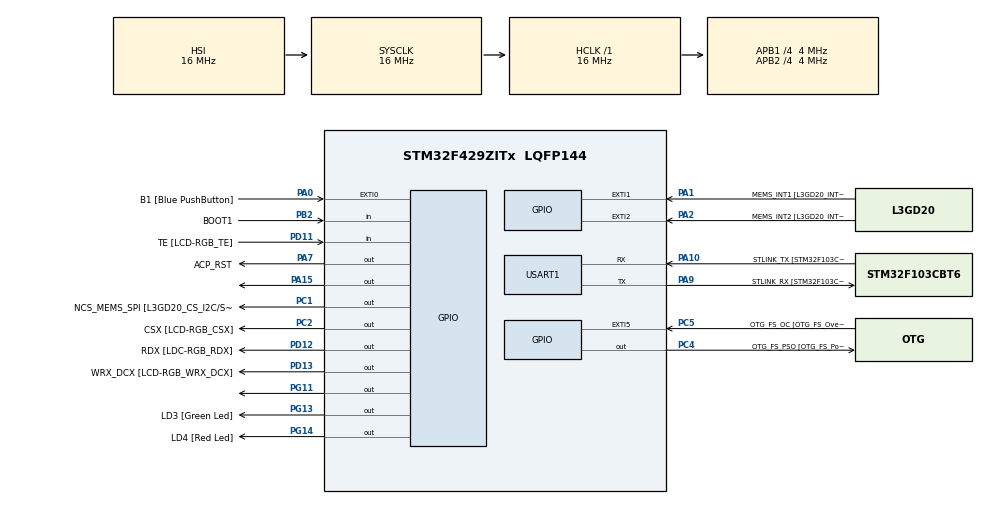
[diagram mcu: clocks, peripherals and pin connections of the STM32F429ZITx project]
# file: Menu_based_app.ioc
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Mcu.Family=STM32F4
Mcu.Name=STM32F429ZITx
Mcu.Package=LQFP144
NVIC.PriorityGroup=NVIC_PRIORITYGROUP_4
NVIC.TIM6_DAC_IRQn=true\:0\:0\:false\:false\:true\:false\:true\:true
NVIC.TimeBase=TIM6_DAC_IRQn
NVIC.TimeBaseIP=TIM6
NVIC.USART1_IRQn=true\:6\:0\:true\:false\:true\:true\:true\:true
PA0/WKUP.GPIO_Label=B1 [Blue PushButton]
PA0/WKUP.GPIO_ModeDefaultEXTI=GPIO_MODE_EVT_RISING
PA0/WKUP.GPIO_PuPd=GPIO_NOPULL
PA0/WKUP.Signal=GPXTI0
PA1.GPIO_Label=MEMS_INT1 [L3GD20_INT1]
PA1.GPIO_ModeDefaultEXTI=GPIO_MODE_EVT_RISING
PA1.GPIO_PuPd=GPIO_NOPULL
PA1.Signal=GPXTI1
PA10.GPIO_Label=STLINK_TX [STM32F103CBT6_PA2]
PA10.Mode=Asynchronous
PA10.Signal=USART1_RX
PA11.GPIO_Label=R4
PA11.GPIO_Mode=GPIO_MODE_AF_PP
PA11.GPIO_PuPd=GPIO_NOPULL
PA11.GPIO_Speed=GPIO_SPEED_FREQ_LOW
PA11.Signal=LTDC_R4
PA12.GPIO_Label=R5
PA12.GPIO_Mode=GPIO_MODE_AF_PP
PA12.GPIO_PuPd=GPIO_NOPULL
PA12.GPIO_Speed=GPIO_SPEED_FREQ_LOW
PA12.Signal=LTDC_R5
PA13.GPIO_Label=SWDIO
PA13.Mode=Serial_Wire
PA13.Signal=SYS_JTMS-SWDIO
PA14.GPIO_Label=SWCLK
PA14.Mode=Serial_Wire
PA14.Signal=SYS_JTCK-SWCLK
PA15.Signal=GPIO_Output
PA2.GPIO_Label=MEMS_INT2 [L3GD20_INT2]
PA2.GPIO_ModeDefaultEXTI=GPIO_MODE_EVT_RISING
PA2.GPIO_PuPd=GPIO_NOPULL
PA2.Signal=GPXTI2
PA3.GPIO_Label=B5
PA3.GPIO_Mode=GPIO_MODE_AF_PP
PA3.GPIO_PuPd=GPIO_NOPULL
PA3.GPIO_Speed=GPIO_SPEED_FREQ_LOW
PA3.Signal=LTDC_B5
PA4.GPIO_Label=VSYNC
PA4.GPIO_Mode=GPIO_MODE_AF_PP
PA4.GPIO_PuPd=GPIO_NOPULL
PA4.GPIO_Speed=GPIO_SPEED_FREQ_LOW
PA4.Signal=LTDC_VSYNC
PA6.GPIO_Label=G2
PA6.GPIO_Mode=GPIO_MODE_AF_PP
PA6.GPIO_PuPd=GPIO_NOPULL
PA6.GPIO_Speed=GPIO_SPEED_FREQ_LOW
PA6.Signal=LTDC_G2
PA7.GPIO_Label=ACP_RST
PA7.GPIO_Mode=GPIO_MODE_OUTPUT_PP
PA7.GPIO_PuPd=GPIO_NOPULL
PA7.GPIO_Speed=GPIO_SPEED_FREQ_LOW
PA7.Signal=GPIO_Output
PA8.GPIO_Label=I2C3_SCL [ACP/RF_SCL]
PA8.GPIO_Mode=GPIO_MODE_AF_OD
PA8.GPIO_PuPd=GPIO_NOPULL
PA8.GPIO_Speed=GPIO_SPEED_FREQ_LOW
PA8.Signal=I2C3_SCL
PA9.GPIO_Label=STLINK_RX [STM32F103CBT6_PA3]
PA9.Mode=Asynchronous
PA9.Signal=USART1_TX
PB0.GPIO_Label=R3
PB0.GPIO_Mode=GPIO_MODE_AF_PP
PB0.GPIO_PuPd=GPIO_NOPULL
PB0.GPIO_Speed=GPIO_SPEED_FREQ_LOW
PB0.Signal=LTDC_R3
PB1.GPIO_Label=R6
PB1.GPIO_Mode=GPIO_MODE_AF_PP
PB1.GPIO_PuPd=GPIO_NOPULL
PB1.GPIO_Speed=GPIO_SPEED_FREQ_LOW
PB1.Signal=LTDC_R6
PB10.GPIO_Label=G4
PB10.GPIO_Mode=GPIO_MODE_AF_PP
PB10.GPIO_PuPd=GPIO_NOPULL
PB10.GPIO_Speed=GPIO_SPEED_FREQ_LOW
PB10.Signal=LTDC_G4
PB11.GPIO_Label=G5
PB11.GPIO_Mode=GPIO_MODE_AF_PP
PB11.GPIO_PuPd=GPIO_NOPULL
PB11.GPIO_Speed=GPIO_SPEED_FREQ_LOW
PB11.Signal=LTDC_G5
PB12.GPIO_Label=OTG_HS_ID
PB12.GPIO_Mode=GPIO_MODE_AF_PP
PB12.GPIO_PuPd=GPIO_NOPULL
PB12.GPIO_Speed=GPIO_SPEED_FREQ_LOW
PB12.Signal=USB_OTG_HS_ID
PB13.GPIO_Label=VBUS_HS
PB13.GPIO_Mode=GPIO_MODE_INPUT
PB13.GPIO_PuPd=GPIO_NOPULL
PB13.Signal=USB_OTG_HS_VBUS
PB14.GPIO_Label=OTG_HS_DM
PB14.GPIO_Mode=GPIO_MODE_AF_PP
PB14.GPIO_PuPd=GPIO_NOPULL
PB14.GPIO_Speed=GPIO_SPEED_FREQ_LOW
PB14.Signal=USB_OTG_HS_DM
PB15.GPIO_Label=OTG_HS_DP
PB15.GPIO_Mode=GPIO_MODE_AF_PP
PB15.GPIO_PuPd=GPIO_NOPULL
PB15.GPIO_Speed=GPIO_SPEED_FREQ_LOW
PB15.Signal=USB_OTG_HS_DP
PB2/BOOT1.GPIO_Label=BOOT1
PB2/BOOT1.GPIO_Mode=GPIO_MODE_INPUT
PB2/BOOT1.GPIO_PuPd=GPIO_NOPULL
PB2/BOOT1.Signal=GPIO_Input
PB5.GPIO_Label=SDCKE1
PB5.GPIO_Mode=GPIO_MODE_AF_PP
PB5.GPIO_PuPd=GPIO_NOPULL
PB5.GPIO_Speed=GPIO_SPEED_FREQ_VERY_HIGH
PB5.Signal=FMC_SDCKE1
PB6.GPIO_Label=SDNE1 [SDRAM_CS]
PB6.GPIO_Mode=GPIO_MODE_AF_PP
PB6.GPIO_PuPd=GPIO_NOPULL
PB6.GPIO_Speed=GPIO_SPEED_FREQ_VERY_HIGH
PB6.Signal=FMC_SDNE1
PB8.GPIO_Label=B6
PB8.GPIO_Mode=GPIO_MODE_AF_PP
PB8.GPIO_PuPd=GPIO_NOPULL
PB8.GPIO_Speed=GPIO_SPEED_FREQ_LOW
PB8.Signal=LTDC_B6
PB9.GPIO_Label=B7
PB9.GPIO_Mode=GPIO_MODE_AF_PP
PB9.GPIO_PuPd=GPIO_NOPULL
PB9.GPIO_Speed=GPIO_SPEED_FREQ_LOW
PB9.Signal=LTDC_B7
PC0.GPIO_Label=SDNWE
PC0.GPIO_Mode=GPIO_MODE_AF_PP
PC0.GPIO_PuPd=GPIO_NOPULL
PC0.GPIO_Speed=GPIO_SPEED_FREQ_VERY_HIGH
PC0.Signal=FMC_SDNWE
PC1.GPIO_Label=NCS_MEMS_SPI [L3GD20_CS_I2C/SPI]
PC1.GPIO_Mode=GPIO_MODE_OUTPUT_PP
PC1.GPIO_PuPd=GPIO_NOPULL
PC1.GPIO_Speed=GPIO_SPEED_FREQ_LOW
PC1.Signal=GPIO_Output
PC10.GPIO_Label=R2
PC10.GPIO_Mode=GPIO_MODE_AF_PP
PC10.GPIO_PuPd=GPIO_NOPULL
PC10.GPIO_Speed=GPIO_SPEED_FREQ_LOW
PC10.Signal=LTDC_R2
PC14/OSC32_IN.GPIO_Label=PC14-OSC32_IN
PC14/OSC32_IN.Signal=RCC_OSC32_IN
PC15/OSC32_OUT.GPIO_Label=PC15-OSC32_OUT
PC15/OSC32_OUT.Signal=RCC_OSC32_OUT
PC2.GPIO_Label=CSX [LCD-RGB_CSX]
PC2.GPIO_Mode=GPIO_MODE_OUTPUT_PP
PC2.GPIO_PuPd=GPIO_NOPULL
PC2.GPIO_Speed=GPIO_SPEED_FREQ_LOW
PC2.Signal=GPIO_Output
PC4.GPIO_Label=OTG_FS_PSO [OTG_FS_PowerSwitchOn]
PC4.GPIO_Mode=GPIO_MODE_OUTPUT_PP
PC4.GPIO_PuPd=GPIO_NOPULL
PC4.GPIO_Speed=GPIO_SPEED_FREQ_LOW
PC4.Signal=GPIO_Output
PC5.GPIO_Label=OTG_FS_OC [OTG_FS_OverCurrent]
PC5.GPIO_ModeDefaultEXTI=GPIO_MODE_EVT_RISING
PC5.Signal=GPXTI5
PC6.GPIO_Label=HSYNC
PC6.GPIO_Mode=GPIO_MODE_AF_PP
PC6.GPIO_PuPd=GPIO_NOPULL
PC6.GPIO_Speed=GPIO_SPEED_FREQ_LOW
PC6.Signal=LTDC_HSYNC
PC7.GPIO_Label=G6
PC7.GPIO_Mode=GPIO_MODE_AF_PP
PC7.GPIO_PuPd=GPIO_NOPULL
PC7.GPIO_Speed=GPIO_SPEED_FREQ_LOW
PC7.Signal=LTDC_G6
PC9.GPIO_Label=I2C3_SDA [ACP/RF_SDA]
PC9.GPIO_Mode=GPIO_MODE_AF_OD
PC9.GPIO_PuPd=GPIO_NOPULL
PC9.GPIO_Speed=GPIO_SPEED_FREQ_LOW
PC9.Signal=I2C3_SDA
PD0.GPIO_Label=D2
PD0.GPIO_Mode=GPIO_MODE_AF_PP
PD0.GPIO_PuPd=GPIO_NOPULL
PD0.GPIO_Speed=GPIO_SPEED_FREQ_VERY_HIGH
PD0.Signal=FMC_D2_DA2
PD1.GPIO_Label=D3
PD1.GPIO_Mode=GPIO_MODE_AF_PP
PD1.GPIO_PuPd=GPIO_NOPULL
PD1.GPIO_Speed=GPIO_SPEED_FREQ_VERY_HIGH
PD1.Signal=FMC_D3_DA3
PD10.GPIO_Label=D15
PD10.GPIO_Mode=GPIO_MODE_AF_PP
PD10.GPIO_PuPd=GPIO_NOPULL
PD10.GPIO_Speed=GPIO_SPEED_FREQ_VERY_HIGH
PD10.Signal=FMC_D15_DA15
PD11.GPIO_Label=TE [LCD-RGB_TE]
PD11.GPIO_Mode=GPIO_MODE_INPUT
PD11.GPIO_PuPd=GPIO_NOPULL
PD11.Signal=GPIO_Input
PD12.GPIO_Label=RDX [LDC-RGB_RDX]
PD12.GPIO_Mode=GPIO_MODE_OUTPUT_PP
PD12.GPIO_PuPd=GPIO_NOPULL
PD12.GPIO_Speed=GPIO_SPEED_FREQ_LOW
PD12.Signal=GPIO_Output
PD13.GPIO_Label=WRX_DCX [LCD-RGB_WRX_DCX]
PD13.GPIO_Mode=GPIO_MODE_OUTPUT_PP
PD13.GPIO_PuPd=GPIO_NOPULL
PD13.GPIO_Speed=GPIO_SPEED_FREQ_LOW
PD13.Signal=GPIO_Output
PD14.GPIO_Label=D0
PD14.GPIO_Mode=GPIO_MODE_AF_PP
PD14.GPIO_PuPd=GPIO_NOPULL
PD14.GPIO_Speed=GPIO_SPEED_FREQ_VERY_HIGH
PD14.Signal=FMC_D0_DA0
PD15.GPIO_Label=D1
PD15.GPIO_Mode=GPIO_MODE_AF_PP
PD15.GPIO_PuPd=GPIO_NOPULL
PD15.GPIO_Speed=GPIO_SPEED_FREQ_VERY_HIGH
PD15.Signal=FMC_D1_DA1
PD3.GPIO_Label=G7
PD3.GPIO_Mode=GPIO_MODE_AF_PP
PD3.GPIO_PuPd=GPIO_NOPULL
PD3.GPIO_Speed=GPIO_SPEED_FREQ_LOW
PD3.Signal=LTDC_G7
PD6.GPIO_Label=B2
PD6.GPIO_Mode=GPIO_MODE_AF_PP
PD6.GPIO_PuPd=GPIO_NOPULL
PD6.GPIO_Speed=GPIO_SPEED_FREQ_LOW
PD6.Signal=LTDC_B2
PD8.GPIO_Label=D13
PD8.GPIO_Mode=GPIO_MODE_AF_PP
PD8.GPIO_PuPd=GPIO_NOPULL
PD8.GPIO_Speed=GPIO_SPEED_FREQ_VERY_HIGH
PD8.Signal=FMC_D13_DA13
PD9.GPIO_Label=D14
PD9.GPIO_Mode=GPIO_MODE_AF_PP
PD9.GPIO_PuPd=GPIO_NOPULL
PD9.GPIO_Speed=GPIO_SPEED_FREQ_VERY_HIGH
PD9.Signal=FMC_D14_DA14
PE0.GPIO_Label=NBL0 [SDRAM_LDQM]
PE0.GPIO_Mode=GPIO_MODE_AF_PP
PE0.GPIO_PuPd=GPIO_NOPULL
PE0.GPIO_Speed=GPIO_SPEED_FREQ_VERY_HIGH
PE0.Signal=FMC_NBL0
PE1.GPIO_Label=NBL1 [SDRAM_UDQM]
PE1.GPIO_Mode=GPIO_MODE_AF_PP
PE1.GPIO_PuPd=GPIO_NOPULL
PE1.GPIO_Speed=GPIO_SPEED_FREQ_VERY_HIGH
PE1.Signal=FMC_NBL1
PE10.GPIO_Label=D7
PE10.GPIO_Mode=GPIO_MODE_AF_PP
PE10.GPIO_PuPd=GPIO_NOPULL
PE10.GPIO_Speed=GPIO_SPEED_FREQ_VERY_HIGH
PE10.Signal=FMC_D7_DA7
PE11.GPIO_Label=D8
PE11.GPIO_Mode=GPIO_MODE_AF_PP
PE11.GPIO_PuPd=GPIO_NOPULL
PE11.GPIO_Speed=GPIO_SPEED_FREQ_VERY_HIGH
PE11.Signal=FMC_D8_DA8
PE12.GPIO_Label=D9
PE12.GPIO_Mode=GPIO_MODE_AF_PP
PE12.GPIO_PuPd=GPIO_NOPULL
PE12.GPIO_Speed=GPIO_SPEED_FREQ_VERY_HIGH
PE12.Signal=FMC_D9_DA9
PE13.GPIO_Label=D10
PE13.GPIO_Mode=GPIO_MODE_AF_PP
PE13.GPIO_PuPd=GPIO_NOPULL
PE13.GPIO_Speed=GPIO_SPEED_FREQ_VERY_HIGH
PE13.Signal=FMC_D10_DA10
PE14.GPIO_Label=D11
PE14.GPIO_Mode=GPIO_MODE_AF_PP
PE14.GPIO_PuPd=GPIO_NOPULL
PE14.GPIO_Speed=GPIO_SPEED_FREQ_VERY_HIGH
PE14.Signal=FMC_D11_DA11
PE15.GPIO_Label=D12
PE15.GPIO_Mode=GPIO_MODE_AF_PP
PE15.GPIO_PuPd=GPIO_NOPULL
PE15.GPIO_Speed=GPIO_SPEED_FREQ_VERY_HIGH
PE15.Signal=FMC_D12_DA12
PE7.GPIO_Label=D4
PE7.GPIO_Mode=GPIO_MODE_AF_PP
PE7.GPIO_PuPd=GPIO_NOPULL
PE7.GPIO_Speed=GPIO_SPEED_FREQ_VERY_HIGH
PE7.Signal=FMC_D4_DA4
PE8.GPIO_Label=D5
PE8.GPIO_Mode=GPIO_MODE_AF_PP
PE8.GPIO_PuPd=GPIO_NOPULL
PE8.GPIO_Speed=GPIO_SPEED_FREQ_VERY_HIGH
PE8.Signal=FMC_D5_DA5
PE9.GPIO_Label=D6
PE9.GPIO_Mode=GPIO_MODE_AF_PP
PE9.GPIO_PuPd=GPIO_NOPULL
PE9.GPIO_Speed=GPIO_SPEED_FREQ_VERY_HIGH
PE9.Signal=FMC_D6_DA6
PF0.GPIO_Label=A0
PF0.GPIO_Mode=GPIO_MODE_AF_PP
PF0.GPIO_PuPd=GPIO_NOPULL
PF0.GPIO_Speed=GPIO_SPEED_FREQ_VERY_HIGH
PF0.Signal=FMC_A0
PF1.GPIO_Label=A1
PF1.GPIO_Mode=GPIO_MODE_AF_PP
PF1.GPIO_PuPd=GPIO_NOPULL
PF1.GPIO_Speed=GPIO_SPEED_FREQ_VERY_HIGH
PF1.Signal=FMC_A1
PF10.GPIO_Label=ENABLE [LCD-RGB_ENABLE]
PF10.GPIO_Mode=GPIO_MODE_AF_PP
PF10.GPIO_PuPd=GPIO_NOPULL
PF10.GPIO_Speed=GPIO_SPEED_FREQ_LOW
PF10.Signal=LTDC_DE
PF11.GPIO_Label=SDNRAS
PF11.GPIO_Mode=GPIO_MODE_AF_PP
PF11.GPIO_PuPd=GPIO_NOPULL
PF11.GPIO_Speed=GPIO_SPEED_FREQ_VERY_HIGH
PF11.Signal=FMC_SDNRAS
PF12.GPIO_Label=A6
PF12.GPIO_Mode=GPIO_MODE_AF_PP
PF12.GPIO_PuPd=GPIO_NOPULL
PF12.GPIO_Speed=GPIO_SPEED_FREQ_VERY_HIGH
PF12.Signal=FMC_A6
PF13.GPIO_Label=A7
PF13.GPIO_Mode=GPIO_MODE_AF_PP
PF13.GPIO_PuPd=GPIO_NOPULL
PF13.GPIO_Speed=GPIO_SPEED_FREQ_VERY_HIGH
PF13.Signal=FMC_A7
PF14.GPIO_Label=A8
PF14.GPIO_Mode=GPIO_MODE_AF_PP
PF14.GPIO_PuPd=GPIO_NOPULL
PF14.GPIO_Speed=GPIO_SPEED_FREQ_VERY_HIGH
PF14.Signal=FMC_A8
PF15.GPIO_Label=A9
PF15.GPIO_Mode=GPIO_MODE_AF_PP
PF15.GPIO_PuPd=GPIO_NOPULL
PF15.GPIO_Speed=GPIO_SPEED_FREQ_VERY_HIGH
PF15.Signal=FMC_A9
PF2.GPIO_Label=A2
PF2.GPIO_Mode=GPIO_MODE_AF_PP
PF2.GPIO_PuPd=GPIO_NOPULL
PF2.GPIO_Speed=GPIO_SPEED_FREQ_VERY_HIGH
PF2.Signal=FMC_A2
PF3.GPIO_Label=A3
PF3.GPIO_Mode=GPIO_MODE_AF_PP
PF3.GPIO_PuPd=GPIO_NOPULL
PF3.GPIO_Speed=GPIO_SPEED_FREQ_VERY_HIGH
PF3.Signal=FMC_A3
PF4.GPIO_Label=A4
PF4.GPIO_Mode=GPIO_MODE_AF_PP
PF4.GPIO_PuPd=GPIO_NOPULL
PF4.GPIO_Speed=GPIO_SPEED_FREQ_VERY_HIGH
PF4.Signal=FMC_A4
PF5.GPIO_Label=A5
PF5.GPIO_Mode=GPIO_MODE_AF_PP
PF5.GPIO_PuPd=GPIO_NOPULL
PF5.GPIO_Speed=GPIO_SPEED_FREQ_VERY_HIGH
PF5.Signal=FMC_A5
PF7.GPIO_Label=SPI5_SCK [L3GD20_SCL/SPC]
PF7.GPIO_Mode=GPIO_MODE_AF_PP
PF7.GPIO_PuPd=GPIO_NOPULL
PF7.GPIO_Speed=GPIO_SPEED_FREQ_LOW
PF7.Signal=SPI5_SCK
PF8.GPIO_Label=SPI5_MISO [L3GD20_SDO]
PF8.GPIO_Mode=GPIO_MODE_AF_PP
PF8.GPIO_PuPd=GPIO_NOPULL
PF8.GPIO_Speed=GPIO_SPEED_FREQ_LOW
PF8.Signal=SPI5_MISO
PF9.GPIO_Label=SPI5_MOSI [L3GD20_SDA/SDI/SDO]
PF9.GPIO_Mode=GPIO_MODE_AF_PP
PF9.GPIO_PuPd=GPIO_NOPULL
PF9.GPIO_Speed=GPIO_SPEED_FREQ_LOW
PF9.Signal=SPI5_MOSI
PG0.GPIO_Label=A10
PG0.GPIO_Mode=GPIO_MODE_AF_PP
PG0.GPIO_PuPd=GPIO_NOPULL
PG0.GPIO_Speed=GPIO_SPEED_FREQ_VERY_HIGH
PG0.Signal=FMC_A10
PG1.GPIO_Label=A11
PG1.GPIO_Mode=GPIO_MODE_AF_PP
PG1.GPIO_PuPd=GPIO_NOPULL
PG1.GPIO_Speed=GPIO_SPEED_FREQ_VERY_HIGH
PG1.Signal=FMC_A11
PG10.GPIO_Label=G3
PG10.GPIO_Mode=GPIO_MODE_AF_PP
PG10.GPIO_PuPd=GPIO_NOPULL
PG10.GPIO_Speed=GPIO_SPEED_FREQ_LOW
PG10.Signal=LTDC_G3
PG11.Signal=GPIO_Output
PG12.GPIO_Label=B4
PG12.GPIO_Mode=GPIO_MODE_AF_PP
PG12.GPIO_PuPd=GPIO_NOPULL
PG12.GPIO_Speed=GPIO_SPEED_FREQ_LOW
PG12.Signal=LTDC_B4
PG13.GPIO_Label=LD3 [Green Led]
PG13.GPIO_Mode=GPIO_MODE_OUTPUT_PP
PG13.GPIO_PuPd=GPIO_NOPULL
PG13.GPIO_Speed=GPIO_SPEED_FREQ_LOW
PG13.Signal=GPIO_Output
PG14.GPIO_Label=LD4 [Red Led]
PG14.GPIO_Mode=GPIO_MODE_OUTPUT_PP
PG14.GPIO_PuPd=GPIO_NOPULL
PG14.GPIO_Speed=GPIO_SPEED_FREQ_LOW
PG14.Signal=GPIO_Output
PG15.GPIO_Label=SDNCAS
PG15.GPIO_Mode=GPIO_MODE_AF_PP
PG15.GPIO_PuPd=GPIO_NOPULL
PG15.GPIO_Speed=GPIO_SPEED_FREQ_VERY_HIGH
PG15.Signal=FMC_SDNCAS
PG4.GPIO_Label=BA0
PG4.GPIO_Mode=GPIO_MODE_AF_PP
PG4.GPIO_PuPd=GPIO_NOPULL
PG4.GPIO_Speed=GPIO_SPEED_FREQ_VERY_HIGH
PG4.Signal=FMC_A14_BA0
PG5.GPIO_Label=BA1
PG5.GPIO_Mode=GPIO_MODE_AF_PP
PG5.GPIO_PuPd=GPIO_NOPULL
PG5.GPIO_Speed=GPIO_SPEED_FREQ_VERY_HIGH
PG5.Signal=FMC_A15_BA1
PG6.GPIO_Label=R7
PG6.GPIO_Mode=GPIO_MODE_AF_PP
PG6.GPIO_PuPd=GPIO_NOPULL
PG6.GPIO_Speed=GPIO_SPEED_FREQ_LOW
PG6.Signal=LTDC_R7
PG7.GPIO_Label=DOTCLK [LCT-RGB_DOTCLK]
PG7.GPIO_Mode=GPIO_MODE_AF_PP
PG7.GPIO_PuPd=GPIO_NOPULL
PG7.GPIO_Speed=GPIO_SPEED_FREQ_LOW
PG7.Signal=LTDC_CLK
PG8.GPIO_Label=SDCLK
PG8.GPIO_Mode=GPIO_MODE_AF_PP
PG8.GPIO_PuPd=GPIO_NOPULL
PG8.GPIO_Speed=GPIO_SPEED_FREQ_VERY_HIGH
PG8.Signal=FMC_SDCLK
PH0/OSC_IN.GPIO_Label=PH0-OSC_IN
PH0/OSC_IN.Signal=RCC_OSC_IN
PH1/OSC_OUT.GPIO_Label=PH1-OSC_OUT
PH1/OSC_OUT.Signal=RCC_OSC_OUT
ProjectManager.HeapSize=0x200
ProjectManager.StackSize=0x400
ProjectManager.TargetToolchain=STM32CubeIDE
RCC.48MHZClocksFreq_Value=14285714.285714285
RCC.AHBFreq_Value=16000000
RCC.APB1CLKDivider=RCC_HCLK_DIV4
RCC.APB1Freq_Value=4000000
RCC.APB1TimFreq_Value=8000000
RCC.APB2CLKDivider=RCC_HCLK_DIV4
RCC.APB2Freq_Value=4000000
RCC.APB2TimFreq_Value=8000000
RCC.CortexFreq_Value=16000000
RCC.HCLKFreq_Value=16000000
RCC.HSE_VALUE=8000000
RCC.HSI_VALUE=16000000
RCC.LSE_VALUE=32768
RCC.PLLM=8
RCC.PLLN=50
RCC.PLLP=RCC_PLLP_DIV4
RCC.PLLQ=7
RCC.SYSCLKFreq_VALUE=16000000
RCC.VCOOutputFreq_Value=100000000
RTC.HourFormat=RTC_HOURFORMAT_12
SH.FMC_A0.0=FMC_A0
SH.FMC_A1.0=FMC_A1
SH.FMC_A10.0=FMC_A10
SH.FMC_A11.0=FMC_A11
SH.FMC_A14_BA0.0=FMC_BA0
SH.FMC_A15_BA1.0=FMC_BA1
SH.FMC_A2.0=FMC_A2
SH.FMC_A3.0=FMC_A3
SH.FMC_A4.0=FMC_A4
SH.FMC_A5.0=FMC_A5
SH.FMC_A6.0=FMC_A6
SH.FMC_A7.0=FMC_A7
SH.FMC_A8.0=FMC_A8
SH.FMC_A9.0=FMC_A9
SH.FMC_D0_DA0.0=FMC_D0
SH.FMC_D10_DA10.0=FMC_D10
SH.FMC_D11_DA11.0=FMC_D11
SH.FMC_D12_DA12.0=FMC_D12
SH.FMC_D13_DA13.0=FMC_D13
SH.FMC_D14_DA14.0=FMC_D14
SH.FMC_D15_DA15.0=FMC_D15
SH.FMC_D1_DA1.0=FMC_D1
SH.FMC_D2_DA2.0=FMC_D2
SH.FMC_D3_DA3.0=FMC_D3
SH.FMC_D4_DA4.0=FMC_D4
SH.FMC_D5_DA5.0=FMC_D5
SH.FMC_D6_DA6.0=FMC_D6
SH.FMC_D7_DA7.0=FMC_D7
SH.FMC_D8_DA8.0=FMC_D8
SH.FMC_D9_DA9.0=FMC_D9
SH.FMC_NBL0.0=FMC_NBL0
SH.FMC_NBL1.0=FMC_NBL1
SH.FMC_SDCLK.0=FMC_SDCLK
SH.FMC_SDNCAS.0=FMC_SDNCAS
SH.FMC_SDNRAS.0=FMC_SDNRAS
SH.FMC_SDNWE.0=FMC_SDNWE
USART1.VirtualMode=VM_ASYNC
VP_RTC_VS_RTC_Activate.Mode=RTC_Enabled
VP_SYS_VS_tim6.Mode=TIM6
board=STM32F429I-DISC1

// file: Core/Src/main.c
/* USER CODE BEGIN Header */
/**
  ******************************************************************************
  * @file           : main.c
  * @brief          : Main program body
  ******************************************************************************
  */
/* USER CODE END Header */
#include "main.h"

/* USER CODE BEGIN Includes */
#include "FreeRTOS.h"
#include "task.h"
#include "queue.h"
/* USER CODE END Includes */

/* USER CODE BEGIN PTD */
typedef enum baud{
	BAUD_9600 = 9600,
	BAUD_115200 = 115200
}BaudRate_t;
typedef uint8_t 	U8;
typedef uint16_t	U16;
typedef uint32_t	U32;
/* USER CODE END PTD */

RTC_HandleTypeDef hrtc;

UART_HandleTypeDef huart1;

/* USER CODE BEGIN PV */
TaskHandle_t 	menu_task;
TaskHandle_t 	led_task;
TaskHandle_t 	rtc_task;
TaskHandle_t 	command_handling_task;
TaskHandle_t 	print_task;
BaseType_t		status;
QueueHandle_t	print_queue;
QueueHandle_t	input_command_queue;
/* USER CODE END PV */

void SystemClock_Config(void);
static void MX_GPIO_Init(void);
static void MX_RTC_Init(void);
static void MX_USART1_UART_Init(void);
/* USER CODE BEGIN PFP */
static void Menu_Task(void*);
static void LED_Task(void*);
static void RTC_Task(void*);
static void Command_Handler(void*);
static void Print_Task(void*);
/* USER CODE END PFP */

int main(void)
{

  /* MCU Configuration--------------------------------------------------------*/

  /* Reset of all peripherals, Initializes the Flash interface and the Systick. */
  HAL_Init();

  /* Configure the system clock */
  SystemClock_Config();

  /* Initialize all configured peripherals */
  MX_GPIO_Init();
  MX_RTC_Init();
  MX_USART1_UART_Init();
  /* USER CODE BEGIN 2 */
  status = xTaskCreate(Menu_Task, "Menu-Task", 100, NULL, 2, &menu_task);
  configASSERT(status == pdPASS);
  status = xTaskCreate(LED_Task, "LED-Task", 100, NULL, 2, &led_task);
  configASSERT(status == pdPASS);
  status = xTaskCreate(RTC_Task, "RTC-Task", 100, NULL, 2, &rtc_task);
  configASSERT(status == pdPASS);
  status = xTaskCreate(Command_Handler, "Cmd-Task", 100, NULL, 2, &command_handling_task);
  configASSERT(status == pdPASS);
  status = xTaskCreate(Print_Task, "Print-Task", 100, NULL, 2, &print_task);
  configASSERT(status == pdPASS);
  q_data = xQueueCreate(10, sizeof(U8));
  q_print = xQueueCreate(10, sizeof(U8));
  /* USER CODE END 2 */

  /* Infinite loop */
  while (1)
  {

  }
}

void SystemClock_Config(void)
{
  RCC_OscInitTypeDef RCC_OscInitStruct = {0};
  RCC_ClkInitTypeDef RCC_ClkInitStruct = {0};

  /** Configure the main internal regulator output voltage
  */
  __HAL_RCC_PWR_CLK_ENABLE();
  __HAL_PWR_VOLTAGESCALING_CONFIG(PWR_REGULATOR_VOLTAGE_SCALE3);

  /** Initializes the RCC Oscillators according to the specified parameters
  * in the RCC_OscInitTypeDef structure.
  */
  RCC_OscInitStruct.OscillatorType = RCC_OSCILLATORTYPE_HSI|RCC_OSCILLATORTYPE_LSI;
  RCC_OscInitStruct.HSIState = RCC_HSI_ON;
  RCC_OscInitStruct.HSICalibrationValue = RCC_HSICALIBRATION_DEFAULT;
  RCC_OscInitStruct.LSIState = RCC_LSI_ON;
  RCC_OscInitStruct.PLL.PLLState = RCC_PLL_NONE;
  if (HAL_RCC_OscConfig(&RCC_OscInitStruct) != HAL_OK)
  {
    Error_Handler();
  }

  /** Initializes the CPU, AHB and APB buses clocks
  */
  RCC_ClkInitStruct.ClockType = RCC_CLOCKTYPE_HCLK|RCC_CLOCKTYPE_SYSCLK
                              |RCC_CLOCKTYPE_PCLK1|RCC_CLOCKTYPE_PCLK2;
  RCC_ClkInitStruct.SYSCLKSource = RCC_SYSCLKSOURCE_HSI;
  RCC_ClkInitStruct.AHBCLKDivider = RCC_SYSCLK_DIV1;
  RCC_ClkInitStruct.APB1CLKDivider = RCC_HCLK_DIV4;
  RCC_ClkInitStruct.APB2CLKDivider = RCC_HCLK_DIV4;

  if (HAL_RCC_ClockConfig(&RCC_ClkInitStruct, FLASH_LATENCY_0) != HAL_OK)
  {
    Error_Handler();
  }
}

static void MX_RTC_Init(void)
{

  /** Initialize RTC Only
  */
  hrtc.Instance = RTC;
  hrtc.Init.HourFormat = RTC_HOURFORMAT_12;
  hrtc.Init.AsynchPrediv = 127;
  hrtc.Init.SynchPrediv = 255;
  hrtc.Init.OutPut = RTC_OUTPUT_DISABLE;
  hrtc.Init.OutPutPolarity = RTC_OUTPUT_POLARITY_HIGH;
  hrtc.Init.OutPutType = RTC_OUTPUT_TYPE_OPENDRAIN;
  if (HAL_RTC_Init(&hrtc) != HAL_OK)
  {
    Error_Handler();
  }

}

static void MX_USART1_UART_Init(void)
{

  huart1.Instance = USART1;
  huart1.Init.BaudRate = 115200;
  huart1.Init.WordLength = UART_WORDLENGTH_8B;
  huart1.Init.StopBits = UART_STOPBITS_1;
  huart1.Init.Parity = UART_PARITY_NONE;
  huart1.Init.Mode = UART_MODE_TX_RX;
  huart1.Init.HwFlowCtl = UART_HWCONTROL_NONE;
  huart1.Init.OverSampling = UART_OVERSAMPLING_16;
  if (HAL_UART_Init(&huart1) != HAL_OK)
  {
    Error_Handler();
  }

}

static void MX_GPIO_Init(void)
{
  GPIO_InitTypeDef GPIO_InitStruct = {0};

  /* GPIO Ports Clock Enable */
  __HAL_RCC_GPIOC_CLK_ENABLE();
  __HAL_RCC_GPIOF_CLK_ENABLE();
  __HAL_RCC_GPIOH_CLK_ENABLE();
  __HAL_RCC_GPIOA_CLK_ENABLE();
  __HAL_RCC_GPIOB_CLK_ENABLE();
  __HAL_RCC_GPIOG_CLK_ENABLE();
  __HAL_RCC_GPIOE_CLK_ENABLE();
  __HAL_RCC_GPIOD_CLK_ENABLE();

  /*Configure GPIO pin Output Level */
  HAL_GPIO_WritePin(GPIOC, NCS_MEMS_SPI_Pin|CSX_Pin|OTG_FS_PSO_Pin, GPIO_PIN_RESET);

  /*Configure GPIO pin Output Level */
  HAL_GPIO_WritePin(GPIOA, ACP_RST_Pin|GPIO_PIN_15, GPIO_PIN_RESET);

  /*Configure GPIO pin Output Level */
  HAL_GPIO_WritePin(GPIOD, RDX_Pin|WRX_DCX_Pin, GPIO_PIN_RESET);

  /*Configure GPIO pin Output Level */
  HAL_GPIO_WritePin(GPIOG, GPIO_PIN_11|LD3_Pin|LD4_Pin, GPIO_PIN_RESET);

  /*Configure GPIO pins : A0_Pin A1_Pin A2_Pin A3_Pin
                           A4_Pin A5_Pin SDNRAS_Pin A6_Pin
                           A7_Pin A8_Pin A9_Pin */
  GPIO_InitStruct.Pin = A0_Pin|A1_Pin|A2_Pin|A3_Pin
                          |A4_Pin|A5_Pin|SDNRAS_Pin|A6_Pin
                          |A7_Pin|A8_Pin|A9_Pin;
  GPIO_InitStruct.Mode = GPIO_MODE_AF_PP;
  GPIO_InitStruct.Pull = GPIO_NOPULL;
  GPIO_InitStruct.Speed = GPIO_SPEED_FREQ_VERY_HIGH;
  GPIO_InitStruct.Alternate = GPIO_AF12_FMC;
  HAL_GPIO_Init(GPIOF, &GPIO_InitStruct);

  /*Configure GPIO pins : SPI5_SCK_Pin SPI5_MISO_Pin SPI5_MOSI_Pin */
  GPIO_InitStruct.Pin = SPI5_SCK_Pin|SPI5_MISO_Pin|SPI5_MOSI_Pin;
  GPIO_InitStruct.Mode = GPIO_MODE_AF_PP;
  GPIO_InitStruct.Pull = GPIO_NOPULL;
  GPIO_InitStruct.Speed = GPIO_SPEED_FREQ_LOW;
  GPIO_InitStruct.Alternate = GPIO_AF5_SPI5;
  HAL_GPIO_Init(GPIOF, &GPIO_InitStruct);

  /*Configure GPIO pin : ENABLE_Pin */
  GPIO_InitStruct.Pin = ENABLE_Pin;
  GPIO_InitStruct.Mode = GPIO_MODE_AF_PP;
  GPIO_InitStruct.Pull = GPIO_NOPULL;
  GPIO_InitStruct.Speed = GPIO_SPEED_FREQ_LOW;
  GPIO_InitStruct.Alternate = GPIO_AF14_LTDC;
  HAL_GPIO_Init(ENABLE_GPIO_Port, &GPIO_InitStruct);

  /*Configure GPIO pin : SDNWE_Pin */
  GPIO_InitStruct.Pin = SDNWE_Pin;
  GPIO_InitStruct.Mode = GPIO_MODE_AF_PP;
  GPIO_InitStruct.Pull = GPIO_NOPULL;
  GPIO_InitStruct.Speed = GPIO_SPEED_FREQ_VERY_HIGH;
  GPIO_InitStruct.Alternate = GPIO_AF12_FMC;
  HAL_GPIO_Init(SDNWE_GPIO_Port, &GPIO_InitStruct);

  /*Configure GPIO pins : NCS_MEMS_SPI_Pin CSX_Pin OTG_FS_PSO_Pin */
  GPIO_InitStruct.Pin = NCS_MEMS_SPI_Pin|CSX_Pin|OTG_FS_PSO_Pin;
  GPIO_InitStruct.Mode = GPIO_MODE_OUTPUT_PP;
  GPIO_InitStruct.Pull = GPIO_NOPULL;
  GPIO_InitStruct.Speed = GPIO_SPEED_FREQ_LOW;
  HAL_GPIO_Init(GPIOC, &GPIO_InitStruct);

  /*Configure GPIO pins : B1_Pin MEMS_INT1_Pin MEMS_INT2_Pin */
  GPIO_InitStruct.Pin = B1_Pin|MEMS_INT1_Pin|MEMS_INT2_Pin;
  GPIO_InitStruct.Mode = GPIO_MODE_EVT_RISING;
  GPIO_InitStruct.Pull = GPIO_NOPULL;
  HAL_GPIO_Init(GPIOA, &GPIO_InitStruct);

  /*Configure GPIO pins : B5_Pin VSYNC_Pin G2_Pin R4_Pin
                           R5_Pin */
  GPIO_InitStruct.Pin = B5_Pin|VSYNC_Pin|G2_Pin|R4_Pin
                          |R5_Pin;
  GPIO_InitStruct.Mode = GPIO_MODE_AF_PP;
  GPIO_InitStruct.Pull = GPIO_NOPULL;
  GPIO_InitStruct.Speed = GPIO_SPEED_FREQ_LOW;
  GPIO_InitStruct.Alternate = GPIO_AF14_LTDC;
  HAL_GPIO_Init(GPIOA, &GPIO_InitStruct);

  /*Configure GPIO pins : ACP_RST_Pin PA15 */
  GPIO_InitStruct.Pin = ACP_RST_Pin|GPIO_PIN_15;
  GPIO_InitStruct.Mode = GPIO_MODE_OUTPUT_PP;
  GPIO_InitStruct.Pull = GPIO_NOPULL;
  GPIO_InitStruct.Speed = GPIO_SPEED_FREQ_LOW;
  HAL_GPIO_Init(GPIOA, &GPIO_InitStruct);

  /*Configure GPIO pin : OTG_FS_OC_Pin */
  GPIO_InitStruct.Pin = OTG_FS_OC_Pin;
  GPIO_InitStruct.Mode = GPIO_MODE_EVT_RISING;
  GPIO_InitStruct.Pull = GPIO_NOPULL;
  HAL_GPIO_Init(OTG_FS_OC_GPIO_Port, &GPIO_InitStruct);

  /*Configure GPIO pins : R3_Pin R6_Pin */
  GPIO_InitStruct.Pin = R3_Pin|R6_Pin;
  GPIO_InitStruct.Mode = GPIO_MODE_AF_PP;
  GPIO_InitStruct.Pull = GPIO_NOPULL;
  GPIO_InitStruct.Speed = GPIO_SPEED_FREQ_LOW;
  GPIO_InitStruct.Alternate = GPIO_AF9_LTDC;
  HAL_GPIO_Init(GPIOB, &GPIO_InitStruct);

  /*Configure GPIO pin : BOOT1_Pin */
  GPIO_InitStruct.Pin = BOOT1_Pin;
  GPIO_InitStruct.Mode = GPIO_MODE_INPUT;
  GPIO_InitStruct.Pull = GPIO_NOPULL;
  HAL_GPIO_Init(BOOT1_GPIO_Port, &GPIO_InitStruct);

  /*Configure GPIO pins : A10_Pin A11_Pin BA0_Pin BA1_Pin
                           SDCLK_Pin SDNCAS_Pin */
  GPIO_InitStruct.Pin = A10_Pin|A11_Pin|BA0_Pin|BA1_Pin
                          |SDCLK_Pin|SDNCAS_Pin;
  GPIO_InitStruct.Mode = GPIO_MODE_AF_PP;
  GPIO_InitStruct.Pull = GPIO_NOPULL;
  GPIO_InitStruct.Speed = GPIO_SPEED_FREQ_VERY_HIGH;
  GPIO_InitStruct.Alternate = GPIO_AF12_FMC;
  HAL_GPIO_Init(GPIOG, &GPIO_InitStruct);

  /*Configure GPIO pins : D4_Pin D5_Pin D6_Pin D7_Pin
                           D8_Pin D9_Pin D10_Pin D11_Pin
                           D12_Pin NBL0_Pin NBL1_Pin */
  GPIO_InitStruct.Pin = D4_Pin|D5_Pin|D6_Pin|D7_Pin
                          |D8_Pin|D9_Pin|D10_Pin|D11_Pin
                          |D12_Pin|NBL0_Pin|NBL1_Pin;
  GPIO_InitStruct.Mode = GPIO_MODE_AF_PP;
  GPIO_InitStruct.Pull = GPIO_NOPULL;
  GPIO_InitStruct.Speed = GPIO_SPEED_FREQ_VERY_HIGH;
  GPIO_InitStruct.Alternate = GPIO_AF12_FMC;
  HAL_GPIO_Init(GPIOE, &GPIO_InitStruct);

  /*Configure GPIO pins : G4_Pin G5_Pin B6_Pin B7_Pin */
  GPIO_InitStruct.Pin = G4_Pin|G5_Pin|B6_Pin|B7_Pin;
  GPIO_InitStruct.Mode = GPIO_MODE_AF_PP;
  GPIO_InitStruct.Pull = GPIO_NOPULL;
  GPIO_InitStruct.Speed = GPIO_SPEED_FREQ_LOW;
  GPIO_InitStruct.Alternate = GPIO_AF14_LTDC;
  HAL_GPIO_Init(GPIOB, &GPIO_InitStruct);

  /*Configure GPIO pins : OTG_HS_ID_Pin OTG_HS_DM_Pin OTG_HS_DP_Pin */
  GPIO_InitStruct.Pin = OTG_HS_ID_Pin|OTG_HS_DM_Pin|OTG_HS_DP_Pin;
  GPIO_InitStruct.Mode = GPIO_MODE_AF_PP;
  GPIO_InitStruct.Pull = GPIO_NOPULL;
  GPIO_InitStruct.Speed = GPIO_SPEED_FREQ_LOW;
  GPIO_InitStruct.Alternate = GPIO_AF12_OTG_HS_FS;
  HAL_GPIO_Init(GPIOB, &GPIO_InitStruct);

  /*Configure GPIO pin : VBUS_HS_Pin */
  GPIO_InitStruct.Pin = VBUS_HS_Pin;
  GPIO_InitStruct.Mode = GPIO_MODE_INPUT;
  GPIO_InitStruct.Pull = GPIO_NOPULL;
  HAL_GPIO_Init(VBUS_HS_GPIO_Port, &GPIO_InitStruct);

  /*Configure GPIO pins : D13_Pin D14_Pin D15_Pin D0_Pin
                           D1_Pin D2_Pin D3_Pin */
  GPIO_InitStruct.Pin = D13_Pin|D14_Pin|D15_Pin|D0_Pin
                          |D1_Pin|D2_Pin|D3_Pin;
  GPIO_InitStruct.Mode = GPIO_MODE_AF_PP;
  GPIO_InitStruct.Pull = GPIO_NOPULL;
  GPIO_InitStruct.Speed = GPIO_SPEED_FREQ_VERY_HIGH;
  GPIO_InitStruct.Alternate = GPIO_AF12_FMC;
  HAL_GPIO_Init(GPIOD, &GPIO_InitStruct);

  /*Configure GPIO pin : TE_Pin */
  GPIO_InitStruct.Pin = TE_Pin;
  GPIO_InitStruct.Mode = GPIO_MODE_INPUT;
  GPIO_InitStruct.Pull = GPIO_NOPULL;
  HAL_GPIO_Init(TE_GPIO_Port, &GPIO_InitStruct);

  /*Configure GPIO pins : RDX_Pin WRX_DCX_Pin */
  GPIO_InitStruct.Pin = RDX_Pin|WRX_DCX_Pin;
  GPIO_InitStruct.Mode = GPIO_MODE_OUTPUT_PP;
  GPIO_InitStruct.Pull = GPIO_NOPULL;
  GPIO_InitStruct.Speed = GPIO_SPEED_FREQ_LOW;
  HAL_GPIO_Init(GPIOD, &GPIO_InitStruct);

  /*Configure GPIO pins : R7_Pin DOTCLK_Pin */
  GPIO_InitStruct.Pin = R7_Pin|DOTCLK_Pin;
  GPIO_InitStruct.Mode = GPIO_MODE_AF_PP;
  GPIO_InitStruct.Pull = GPIO_NOPULL;
  GPIO_InitStruct.Speed = GPIO_SPEED_FREQ_LOW;
  GPIO_InitStruct.Alternate = GPIO_AF14_LTDC;
  HAL_GPIO_Init(GPIOG, &GPIO_InitStruct);

  /*Configure GPIO pins : HSYNC_Pin G6_Pin R2_Pin */
  GPIO_InitStruct.Pin = HSYNC_Pin|G6_Pin|R2_Pin;
  GPIO_InitStruct.Mode = GPIO_MODE_AF_PP;
  GPIO_InitStruct.Pull = GPIO_NOPULL;
  GPIO_InitStruct.Speed = GPIO_SPEED_FREQ_LOW;
  GPIO_InitStruct.Alternate = GPIO_AF14_LTDC;
  HAL_GPIO_Init(GPIOC, &GPIO_InitStruct);

  /*Configure GPIO pin : I2C3_SDA_Pin */
  GPIO_InitStruct.Pin = I2C3_SDA_Pin;
  GPIO_InitStruct.Mode = GPIO_MODE_AF_OD;
  GPIO_InitStruct.Pull = GPIO_NOPULL;
  GPIO_InitStruct.Speed = GPIO_SPEED_FREQ_LOW;
  GPIO_InitStruct.Alternate = GPIO_AF4_I2C3;
  HAL_GPIO_Init(I2C3_SDA_GPIO_Port, &GPIO_InitStruct);

  /*Configure GPIO pin : I2C3_SCL_Pin */
  GPIO_InitStruct.Pin = I2C3_SCL_Pin;
  GPIO_InitStruct.Mode = GPIO_MODE_AF_OD;
  GPIO_InitStruct.Pull = GPIO_NOPULL;
  GPIO_InitStruct.Speed = GPIO_SPEED_FREQ_LOW;
  GPIO_InitStruct.Alternate = GPIO_AF4_I2C3;
  HAL_GPIO_Init(I2C3_SCL_GPIO_Port, &GPIO_InitStruct);

  /*Configure GPIO pins : G7_Pin B2_Pin */
  GPIO_InitStruct.Pin = G7_Pin|B2_Pin;
  GPIO_InitStruct.Mode = GPIO_MODE_AF_PP;
  GPIO_InitStruct.Pull = GPIO_NOPULL;
  GPIO_InitStruct.Speed = GPIO_SPEED_FREQ_LOW;
  GPIO_InitStruct.Alternate = GPIO_AF14_LTDC;
  HAL_GPIO_Init(GPIOD, &GPIO_InitStruct);

  /*Configure GPIO pins : G3_Pin B4_Pin */
  GPIO_InitStruct.Pin = G3_Pin|B4_Pin;
  GPIO_InitStruct.Mode = GPIO_MODE_AF_PP;
  GPIO_InitStruct.Pull = GPIO_NOPULL;
  GPIO_InitStruct.Speed = GPIO_SPEED_FREQ_LOW;
  GPIO_InitStruct.Alternate = GPIO_AF9_LTDC;
  HAL_GPIO_Init(GPIOG, &GPIO_InitStruct);

  /*Configure GPIO pins : PG11 LD3_Pin LD4_Pin */
  GPIO_InitStruct.Pin = GPIO_PIN_11|LD3_Pin|LD4_Pin;
  GPIO_InitStruct.Mode = GPIO_MODE_OUTPUT_PP;
  GPIO_InitStruct.Pull = GPIO_NOPULL;
  GPIO_InitStruct.Speed = GPIO_SPEED_FREQ_LOW;
  HAL_GPIO_Init(GPIOG, &GPIO_InitStruct);

  /*Configure GPIO pins : SDCKE1_Pin SDNE1_Pin */
  GPIO_InitStruct.Pin = SDCKE1_Pin|SDNE1_Pin;
  GPIO_InitStruct.Mode = GPIO_MODE_AF_PP;
  GPIO_InitStruct.Pull = GPIO_NOPULL;
  GPIO_InitStruct.Speed = GPIO_SPEED_FREQ_VERY_HIGH;
  GPIO_InitStruct.Alternate = GPIO_AF12_FMC;
  HAL_GPIO_Init(GPIOB, &GPIO_InitStruct);

}

void HAL_TIM_PeriodElapsedCallback(TIM_HandleTypeDef *htim)
{
  if (htim->Instance == TIM6) {
    HAL_IncTick();
  }
}

void Error_Handler(void)
{
  __disable_irq();
  while (1)
  {
  }
}
